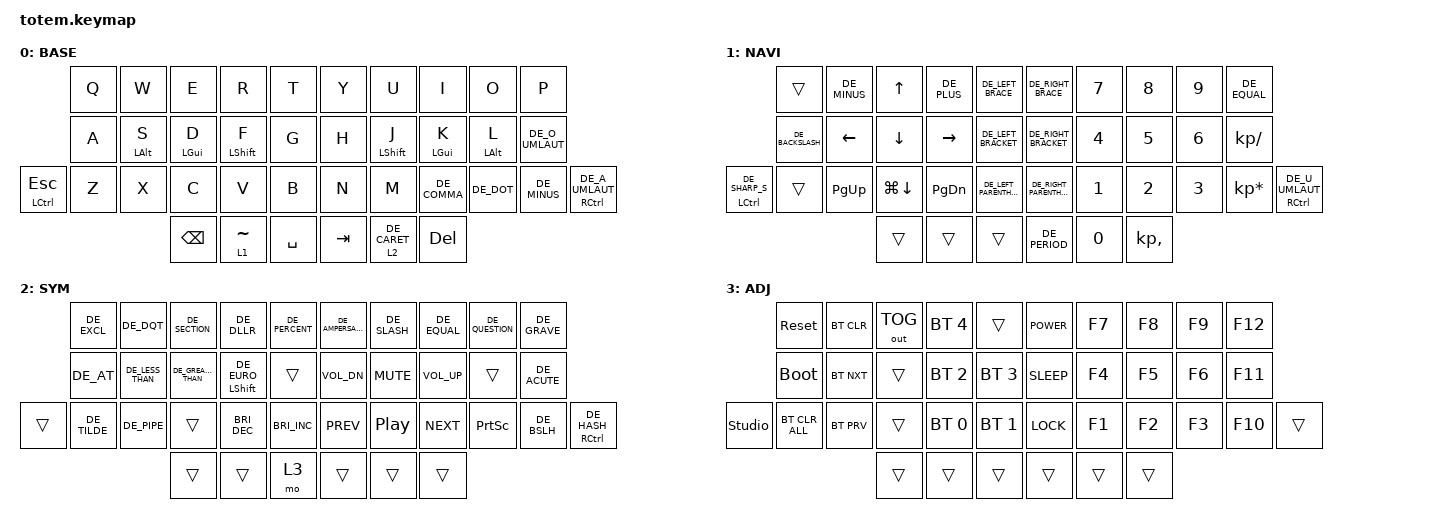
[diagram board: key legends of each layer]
//
//                                                        ▀▀▀▀▀     ▀▀▀▀▀          ▀▀█▀▀
//                                                        ▄▀▀▀▄  ▄  ▄▀▀▀▄  ▄  ▄▀▀▀▄  █  ▄▀▀▀▄
//                                                        █   █  █  █   █  █  █   █  █  █   █
//                                                         ▀▀▀   █   ▀▀▀   █   ▀▀▀   ▀   ▀▀▀
//                                                               █      ▄▄▄█▄▄▄    █   █  
//                                                               ▀      █  █  █     █▄█
//                                                             ▀▀▀▀▀    █  █  █      ▀
//                                                                      ▀  ▀  ▀
//
// ▄▄▄▄▄▄▄▄▄▄▄▄▄▄▄▄▄▄▄▄▄▄▄▄▄▄▄▄▄▄▄▄▄▄▄▄▄▄▄▄▄▄▄▄▄▄▄▄▄▄▄▄▄▄▄▄▄▄▄▄▄▄▄▄▄▄▄▄▄▄▄▄▄▄▄▄▄▄▄▄▄▄▄▄▄▄▄▄▄▄▄▄▄▄▄▄▄▄▄▄▄▄▄▄▄▄▄▄▄▄▄▄▄▄▄▄▄▄▄▄▄▄▄▄▄▄▄▄▄▄▄▄▄▄▄▄▄▄▄▄▄▄▄▄▄▄▄▄▄

#include "keys_de.h"
#include <behaviors.dtsi>
#include <dt-bindings/zmk/bt.h>
#include <dt-bindings/zmk/keys.h>
#include <dt-bindings/zmk/outputs.h>

#define BASE 0
#define NAV  1
#define SYM  2
#define ADJ  3
#define TVP1 4
#define TVP2 5

&mt {
    quick-tap-ms = <150>;
    global-quick-tap;
    flavor = "tap-preferred";
    tapping-term-ms = <170>;
};

/ {
    combos {
        compatible = "zmk,combos";

        combo_esc {
            timeout-ms = <60>;
            key-positions = <0 1>;
            bindings = <&kp TAB>;
            require-prior-idle-ms = <120>;
        };

        dash {
            bindings = <&kp MINUS>;
            key-positions = <19 31>;
            timeout-ms = <70>;
        };

        tilde_combo {
            bindings = <&kp TILDE>;
            key-positions = <0 20>;
            timeout-ms = <60>;
            require-prior-idle-ms = <100>;
        };

        enter_combo {
            bindings = <&kp ENTER>;
            key-positions = <13 12 11>;
            timeout-ms = <70>;
            require-prior-idle-ms = <100>;
        };

        enter_right_combo {
            bindings = <&kp ENTER>;
            key-positions = <16 18 17>;
            timeout-ms = <70>;
            require-prior-idle-ms = <100>;
        };
    };

    behaviors {
        mt_left: mt_left {
            compatible = "zmk,behavior-hold-tap";
            label = "MT_LEFT";
            bindings = <&kp>, <&kp>;

            #binding-cells = <2>;
            tapping-term-ms = <400>;
            quick-tap-ms = <170>;
            flavor = "balanced";
            hold-trigger-key-positions = <26 27 16 15 5 6 7 5 6 7 8 9 15 16 17 18 19 26 27 28 29 31 5 6 7 8 9 15 16 17 18 19 26 27 28 29 30 31 35 36 37 32 33 34>;
            require-prior-idle-ms = <50>;
            hold-trigger-on-release;
        };

        mt_right: mt_right {
            compatible = "zmk,behavior-hold-tap";
            label = "MT_RIGHT";
            bindings = <&kp>, <&kp>;

            #binding-cells = <2>;
            tapping-term-ms = <400>;
            quick-tap-ms = <170>;
            flavor = "balanced";
            require-prior-idle-ms = <50>;
            hold-trigger-on-release;
            hold-trigger-key-positions = <0 1 4 10 11 12 13 14 20 21 22 23 24 25 2 35 36 37 3 32 33 34>;
        };

        mt_thumb: mt_thumb {
            compatible = "zmk,behavior-hold-tap";
            label = "MT_THUMB";
            bindings = <&kp>, <&kp>;

            #binding-cells = <2>;
            quick-tap-ms = <220>;
            flavor = "balanced";
            tapping-term-ms = <100>;
            require-prior-idle-ms = <0>;
        };

        mt_shift_left: mt_shift_left {
            compatible = "zmk,behavior-hold-tap";
            label = "MT_SHIFT_LEFT";
            bindings = <&kp>, <&kp>;

            #binding-cells = <2>;
            tapping-term-ms = <175>;
            quick-tap-ms = <175>;
            flavor = "tap-preferred";
            hold-trigger-key-positions = <19 26 27 29 30 31 36 37 35 36 32 33 34 5 6 7 8 9 15 16 17 18 19 26 27 28 29 31>;
            require-prior-idle-ms = <20>;
        };

        mt_shift_right: mt_shift_right {
            compatible = "zmk,behavior-hold-tap";
            label = "MT_SHIFT_RIGHT";
            bindings = <&kp>, <&kp>;

            #binding-cells = <2>;
            tapping-term-ms = <175>;
            quick-tap-ms = <175>;
            flavor = "tap-preferred";
            hold-trigger-key-positions = <0 1 2 3 4 10 11 12 13 14 20 21 22 23 24 25 32 33 34 35 36 37>;
            require-prior-idle-ms = <20>;
        };

        hold_sticky: hold_sticky {
            compatible = "zmk,behavior-hold-tap";
            label = "HOLD_STICKY";
            bindings = <&kp>, <&sk>;

            #binding-cells = <2>;
            flavor = "hold-preferred";
            tapping-term-ms = <150>;
            quick-tap-ms = <220>;
        };

        mt_all: mt_all {
            compatible = "zmk,behavior-hold-tap";
            label = "MT_ALL";
            bindings = <&kp>, <&kp>;

            #binding-cells = <2>;
            tapping-term-ms = <175>;
            quick-tap-ms = <175>;
            flavor = "balanced";
            require-prior-idle-ms = <35>;
            hold-trigger-on-release;
        };
    };

    keymap {
        compatible = "zmk,keymap";

        // ▄▄▄▄▄▄▄▄▄▄▄▄▄▄▄▄▄▄▄▄▄▄▄▄▄▄▄▄▄▄▄▄▄▄▄▄▄▄▄▄▄▄▄▄▄▄▄▄▄▄▄▄▄▄▄▄▄▄▄▄▄▄▄▄▄▄▄▄▄▄▄▄▄▄▄▄▄▄▄▄▄▄▄▄▄▄▄▄▄▄▄▄▄▄▄▄▄▄▄▄▄▄▄▄▄▄▄▄▄▄▄▄▄▄▄▄▄▄▄▄▄▄▄▄▄▄▄▄▄▄▄▄▄▄▄▄▄▄▄▄▄▄▄▄▄▄▄▄▄

        base_layer {
            // ┏━━━━━━━━━━━━━━━━━━━━━━━━━━━━━━━━━━━━━━━┓

            label = "BASE";

            // ┗━━━━━━━━━━━━━━━━━━━━━━━━━━━━━━━━━━━━━━━┛
            //             ┏━━━━━━━━━━━┳━━━━━━━━━━━┳━━━━━━━━━━━┳━━━━━━━━━━━┳━━━━━━━━━━━┓   ┏━━━━━━━━━━━┳━━━━━━━━━━━┳━━━━━━━━━━━┳━━━━━━━━━━━┳━━━━━━━━━━━┓
            //             ┃     Q     ┃     W     ┃     F     ┃     P     ┃     G     ┃   ┃     J     ┃     L     ┃     U     ┃     Y     ┃     ;     ┃
            //             ┣━━━━━━━━━━━╋━━━━━━━━━━━╋━━━━━━━━━━━╋━━━━━━━━━━━╋━━━━━━━━━━━┫   ┣━━━━━━━━━━━╋━━━━━━━━━━━╋━━━━━━━━━━━╋━━━━━━━━━━━╋━━━━━━━━━━━┫
            //             ┃     A     ┃     R     ┃     S     ┃     T     ┃     D     ┃   ┃     H     ┃     N     ┃     E     ┃     I     ┃     O     ┃
            // ┏━━━━━━━━━━━╋━━━━━━━━━━━╋━━━━━━━━━━━╋━━━━━━━━━━━╋━━━━━━━━━━━╋━━━━━━━━━━━┫   ┣━━━━━━━━━━━╋━━━━━━━━━━━╋━━━━━━━━━━━╋━━━━━━━━━━━╋━━━━━━━━━━━╋━━━━━━━━━━━┓
            // ┃     Q     ┃     Z     ┃     X     ┃     C     ┃     V     ┃     B     ┃   ┃     K     ┃     M     ┃     ,     ┃     .     ┃     /     ┃     \     ┃
            // ┗━━━━━━━━━━━┻━━━━━━━━━━━┻━━━━━━━━━━━╋━━━━━━━━━━━╋━━━━━━━━━━━╋━━━━━━━━━━━┫   ┣━━━━━━━━━━━╋━━━━━━━━━━━╋━━━━━━━━━━━╋━━━━━━━━━━━┻━━━━━━━━━━━┻━━━━━━━━━━━┛
            //                                     ┃    DEL    ┃    TAB    ┃    SPC    ┃   ┃   ENTER   ┃           ┃   BSPC    ┃
            //                                     ┗━━━━━━━━━━━┻━━━━━━━━━━━┻━━━━━━━━━━━┛   ┗━━━━━━━━━━━┻━━━━━━━━━━━┻━━━━━━━━━━━┛

            bindings = <
                          &kp Q  &kp W                  &kp E            &kp R                    &kp T        &kp Y    &kp U                     &kp I             &kp O                   &kp P
                          &kp A  &mt_shift_left LALT S  &mt_left LGUI D  &mt_shift_left LSHIFT F  &kp G        &kp H    &mt_shift_right LSHIFT J  &mt_right LGUI K  &mt_shift_right LALT L  &kp DE_O_UMLAUT
&mt_all LEFT_CONTROL ESC  &kp Z  &kp X                  &kp C            &kp V                    &kp B        &kp N    &kp M                     &kp DE_COMMA      &kp DE_DOT              &kp DE_MINUS     &mt_all RCTRL DE_A_UMLAUT
                                                        &kp BACKSPACE    &lt 1 TILDE              &kp SPACE    &kp TAB  &lt 2 DE_CARET            &kp DELETE
            >;
        };

        // ▄▄▄▄▄▄▄▄▄▄▄▄▄▄▄▄▄▄▄▄▄▄▄▄▄▄▄▄▄▄▄▄▄▄▄▄▄▄▄▄▄▄▄▄▄▄▄▄▄▄▄▄▄▄▄▄▄▄▄▄▄▄▄▄▄▄▄▄▄▄▄▄▄▄▄▄▄▄▄▄▄▄▄▄▄▄▄▄▄▄▄▄▄▄▄▄▄▄▄▄▄▄▄▄▄▄▄▄▄▄▄▄▄▄▄▄▄▄▄▄▄▄▄▄▄▄▄▄▄▄▄▄▄▄▄▄▄▄▄▄▄▄▄▄▄▄▄▄▄

        nav_layer {
            // ┏━━━━━━━━━━━━━━━━━━━━━━━━━━━━━━━━━━━━━━━┓

            label = "NAVI";

            // ┗━━━━━━━━━━━━━━━━━━━━━━━━━━━━━━━━━━━━━━━┛
            //             ┏━━━━━━━━━━━┳━━━━━━━━━━━┳━━━━━━━━━━━┳━━━━━━━━━━━┳━━━━━━━━━━━┓   ┏━━━━━━━━━━━┳━━━━━━━━━━━┳━━━━━━━━━━━┳━━━━━━━━━━━┳━━━━━━━━━━━┓
            //             ┃           ┃           ┃     UP    ┃           ┃     {     ┃   ┃     }     ┃     7     ┃     8     ┃     9     ┃     +     ┃
            //             ┣━━━━━━━━━━━╋━━━━━━━━━━━╋━━━━━━━━━━━╋━━━━━━━━━━━╋━━━━━━━━━━━┫   ┣━━━━━━━━━━━╋━━━━━━━━━━━╋━━━━━━━━━━━╋━━━━━━━━━━━╋━━━━━━━━━━━┫
            //             ┃   SHIFT   ┃   LEFT    ┃    DOWN   ┃   RIGHT   ┃     [     ┃   ┃     ]     ┃     4     ┃     5     ┃     6     ┃     -     ┃
            // ┏━━━━━━━━━━━╋━━━━━━━━━━━╋━━━━━━━━━━━╋━━━━━━━━━━━╋━━━━━━━━━━━╋━━━━━━━━━━━┫   ┣━━━━━━━━━━━╋━━━━━━━━━━━╋━━━━━━━━━━━╋━━━━━━━━━━━╋━━━━━━━━━━━╋━━━━━━━━━━━┓
            // ┃           ┃           ┃   P UP    ┃  C LOCK   ┃  P DOWN   ┃     (     ┃   ┃     )     ┃     1     ┃     2     ┃     3     ┃     *     ┃           ┃
            // ┗━━━━━━━━━━━┻━━━━━━━━━━━┻━━━━━━━━━━━╋━━━━━━━━━━━╋━━━━━━━━━━━╋━━━━━━━━━━━┫   ┣━━━━━━━━━━━╋━━━━━━━━━━━╋━━━━━━━━━━━╋━━━━━━━━━━━┻━━━━━━━━━━━┻━━━━━━━━━━━┛
            //                                     ┃           ┃    TAB    ┃    SPC    ┃   ┃    DEL    ┃     0     ┃           ┃
            //                                     ┗━━━━━━━━━━━┻━━━━━━━━━━━┻━━━━━━━━━━━┛   ┗━━━━━━━━━━━┻━━━━━━━━━━━┻━━━━━━━━━━━┛

            bindings = <
                          &trans            &kp DE_MINUS    &kp UP          &kp DE_PLUS      &kp DE_LEFT_BRACE          &kp DE_RIGHT_BRACE        &kp N7        &kp N8        &kp N9        &kp DE_EQUAL
                          &kp DE_BACKSLASH  &kp LEFT_ARROW  &kp DOWN_ARROW  &kp RIGHT_ARROW  &kp DE_LEFT_BRACKET        &kp DE_RIGHT_BRACKET      &kp NUMBER_4  &kp N5        &kp NUMBER_6  &kp KP_DIVIDE
&mt_all LCTRL DE_SHARP_S  &trans            &kp PG_UP       &kp LG(DOWN)    &kp PG_DN        &kp DE_LEFT_PARENTHESIS    &kp DE_RIGHT_PARENTHESIS  &kp NUMBER_1  &kp N2        &kp N3        &kp KP_MULTIPLY  &mt_all RCTRL DE_U_UMLAUT
                                                            &trans          &trans           &trans                     &kp DE_PERIOD             &kp N0        &kp KP_COMMA
            >;
        };

        // ▄▄▄▄▄▄▄▄▄▄▄▄▄▄▄▄▄▄▄▄▄▄▄▄▄▄▄▄▄▄▄▄▄▄▄▄▄▄▄▄▄▄▄▄▄▄▄▄▄▄▄▄▄▄▄▄▄▄▄▄▄▄▄▄▄▄▄▄▄▄▄▄▄▄▄▄▄▄▄▄▄▄▄▄▄▄▄▄▄▄▄▄▄▄▄▄▄▄▄▄▄▄▄▄▄▄▄▄▄▄▄▄▄▄▄▄▄▄▄▄▄▄▄▄▄▄▄▄▄▄▄▄▄▄▄▄▄▄▄▄▄▄▄▄▄▄▄▄▄

        sim_layer {
            // ┏━━━━━━━━━━━━━━━━━━━━━━━━━━━━━━━━━━━━━━━┓

            label = "SYM";

            // ┗━━━━━━━━━━━━━━━━━━━━━━━━━━━━━━━━━━━━━━━┛
            //             ┏━━━━━━━━━━━┳━━━━━━━━━━━┳━━━━━━━━━━━┳━━━━━━━━━━━┳━━━━━━━━━━━┓   ┏━━━━━━━━━━━┳━━━━━━━━━━━┳━━━━━━━━━━━┳━━━━━━━━━━━┳━━━━━━━━━━━┓
            //             ┃     !     ┃     @     ┃     #     ┃     $     ┃     %     ┃   ┃     ˆ     ┃     &     ┃     Ü     ┃     '     ┃     "     ┃
            //             ┣━━━━━━━━━━━╋━━━━━━━━━━━╋━━━━━━━━━━━╋━━━━━━━━━━━╋━━━━━━━━━━━┫   ┣━━━━━━━━━━━╋━━━━━━━━━━━╋━━━━━━━━━━━╋━━━━━━━━━━━╋━━━━━━━━━━━┫
            //             ┃     Ä     ┃           ┃    SZ     ┃           ┃           ┃   ┃   MUTE    ┃   YEN     ┃   EURO    ┃  POUND    ┃     Ö     ┃
            // ┏━━━━━━━━━━━╋━━━━━━━━━━━╋━━━━━━━━━━━╋━━━━━━━━━━━╋━━━━━━━━━━━╋━━━━━━━━━━━┫   ┣━━━━━━━━━━━╋━━━━━━━━━━━╋━━━━━━━━━━━╋━━━━━━━━━━━╋━━━━━━━━━━━╋━━━━━━━━━━━┓
            // ┃           ┃  EMAIL1   ┃  EMAIL2   ┃           ┃           ┃           ┃   ┃   VOL-    ┃   VOL+    ┃   LAST    ┃   NEXT    ┃     \     ┃           ┃
            // ┗━━━━━━━━━━━┻━━━━━━━━━━━┻━━━━━━━━━━━╋━━━━━━━━━━━╋━━━━━━━━━━━╋━━━━━━━━━━━┫   ┣━━━━━━━━━━━╋━━━━━━━━━━━╋━━━━━━━━━━━╋━━━━━━━━━━━┻━━━━━━━━━━━┻━━━━━━━━━━━┛
            //                                     ┃           ┃    GIF    ┃    ADJ    ┃   ┃           ┃           ┃           ┃
            //                                     ┗━━━━━━━━━━━┻━━━━━━━━━━━┻━━━━━━━━━━━┛   ┗━━━━━━━━━━━┻━━━━━━━━━━━┻━━━━━━━━━━━┛

            bindings = <
        &kp DE_EXCL   &kp DE_DQT        &kp DE_SECTION       &kp DE_DLLR                 &kp DE_PERCENT          &kp DE_AMPERSAND  &kp DE_SLASH  &kp DE_EQUAL  &kp DE_QUESTION  &kp DE_GRAVE
        &kp DE_AT     &kp DE_LESS_THAN  &kp DE_GREATER_THAN  &mt_all LEFT_SHIFT DE_EURO  &trans                  &kp C_VOL_DN      &kp C_MUTE    &kp C_VOL_UP  &trans           &kp DE_ACUTE
&trans  &kp DE_TILDE  &kp DE_PIPE       &trans               &kp C_BRI_DEC               &kp C_BRIGHTNESS_INC    &kp C_PREV        &kp C_PP      &kp C_NEXT    &kp PSCRN        &kp DE_BSLH   &mt_all RCTRL DE_HASH
                                        &trans               &trans                      &mo 3                   &trans            &trans        &trans
            >;
        };

        // ▄▄▄▄▄▄▄▄▄▄▄▄▄▄▄▄▄▄▄▄▄▄▄▄▄▄▄▄▄▄▄▄▄▄▄▄▄▄▄▄▄▄▄▄▄▄▄▄▄▄▄▄▄▄▄▄▄▄▄▄▄▄▄▄▄▄▄▄▄▄▄▄▄▄▄▄▄▄▄▄▄▄▄▄▄▄▄▄▄▄▄▄▄▄▄▄▄▄▄▄▄▄▄▄▄▄▄▄▄▄▄▄▄▄▄▄▄▄▄▄▄▄▄▄▄▄▄▄▄▄▄▄▄▄▄▄▄▄▄▄▄▄▄▄▄▄▄▄▄

        adjust_layer {
            // ┏━━━━━━━━━━━━━━━━━━━━━━━━━━━━━━━━━━━━━━━┓

            label = "ADJ";

            // ┗━━━━━━━━━━━━━━━━━━━━━━━━━━━━━━━━━━━━━━━┛
            //             ┏━━━━━━━━━━━┳━━━━━━━━━━━┳━━━━━━━━━━━┳━━━━━━━━━━━┳━━━━━━━━━━━┓   ┏━━━━━━━━━━━┳━━━━━━━━━━━┳━━━━━━━━━━━┳━━━━━━━━━━━┳━━━━━━━━━━━┓
            //             ┃   RESET   ┃ BT CLEAR  ┃  OUT TOG  ┃           ┃           ┃   ┃           ┃    F7     ┃    F8     ┃    F9     ┃    F12    ┃
            //             ┣━━━━━━━━━━━╋━━━━━━━━━━━╋━━━━━━━━━━━╋━━━━━━━━━━━╋━━━━━━━━━━━┫   ┣━━━━━━━━━━━╋━━━━━━━━━━━╋━━━━━━━━━━━╋━━━━━━━━━━━╋━━━━━━━━━━━┫
            //             ┃ BOOTLOAD  ┃ BT NEXT   ┃           ┃           ┃           ┃   ┃           ┃    F4     ┃    F5     ┃    F6     ┃    F11    ┃
            // ┏━━━━━━━━━━━╋━━━━━━━━━━━╋━━━━━━━━━━━╋━━━━━━━━━━━╋━━━━━━━━━━━╋━━━━━━━━━━━┫   ┣━━━━━━━━━━━╋━━━━━━━━━━━╋━━━━━━━━━━━╋━━━━━━━━━━━╋━━━━━━━━━━━╋━━━━━━━━━━━┓
            // ┃           ┃           ┃ BT PREV   ┃           ┃           ┃           ┃   ┃           ┃    F1     ┃    F2     ┃    F3     ┃    F10    ┃           ┃
            // ┗━━━━━━━━━━━┻━━━━━━━━━━━┻━━━━━━━━━━━╋━━━━━━━━━━━╋━━━━━━━━━━━╋━━━━━━━━━━━┫   ┣━━━━━━━━━━━╋━━━━━━━━━━━╋━━━━━━━━━━━╋━━━━━━━━━━━┻━━━━━━━━━━━┻━━━━━━━━━━━┛
            //                                     ┃           ┃           ┃           ┃   ┃           ┃           ┃           ┃
            //                                     ┗━━━━━━━━━━━┻━━━━━━━━━━━┻━━━━━━━━━━━┛   ┗━━━━━━━━━━━┻━━━━━━━━━━━┻━━━━━━━━━━━┛

            bindings = <
                &sys_reset      &bt BT_CLR  &out OUT_TOG  &bt BT_SEL 4  &trans          &kp K_POWER  &kp F7  &kp F8  &kp F9  &kp F12
                &bootloader     &bt BT_NXT  &trans        &bt BT_SEL 2  &bt BT_SEL 3    &kp K_SLEEP  &kp F4  &kp F5  &kp F6  &kp F11
&studio_unlock  &bt BT_CLR_ALL  &bt BT_PRV  &trans        &bt BT_SEL 0  &bt BT_SEL 1    &kp K_LOCK   &kp F1  &kp F2  &kp F3  &kp F10  &trans
                                            &trans        &trans        &trans          &trans       &trans  &trans
            >;
        };

        // ▄▄▄▄▄▄▄▄▄▄▄▄▄▄▄▄▄▄▄▄▄▄▄▄▄▄▄▄▄▄▄▄▄▄▄▄▄▄▄▄▄▄▄▄▄▄▄▄▄▄▄▄▄▄▄▄▄▄▄▄▄▄▄▄▄▄▄▄▄▄▄▄▄▄▄▄▄▄▄▄▄▄▄▄▄▄▄▄▄▄▄▄▄▄▄▄▄▄▄▄▄▄▄▄▄▄▄▄▄▄▄▄▄▄▄▄▄▄▄▄▄▄▄▄▄▄▄▄▄▄▄▄▄▄▄▄▄▄▄▄▄▄▄▄▄▄▄▄▄
        // ▄▄▄▄▄▄▄▄▄▄▄▄▄▄▄▄▄▄▄▄▄▄▄▄▄▄▄▄▄▄▄▄▄▄▄▄▄▄▄▄▄▄▄▄▄▄▄▄▄▄▄▄▄▄▄▄▄▄▄▄▄▄▄▄▄▄▄▄▄▄▄▄▄▄▄▄▄▄▄▄▄▄▄▄▄▄▄▄▄▄▄▄▄▄▄▄▄▄▄▄▄▄▄▄▄▄▄▄▄▄▄▄▄▄▄▄▄▄▄▄▄▄▄▄▄▄▄▄▄▄▄▄▄▄▄▄▄▄▄▄▄▄▄▄▄▄▄▄▄
    };
};
